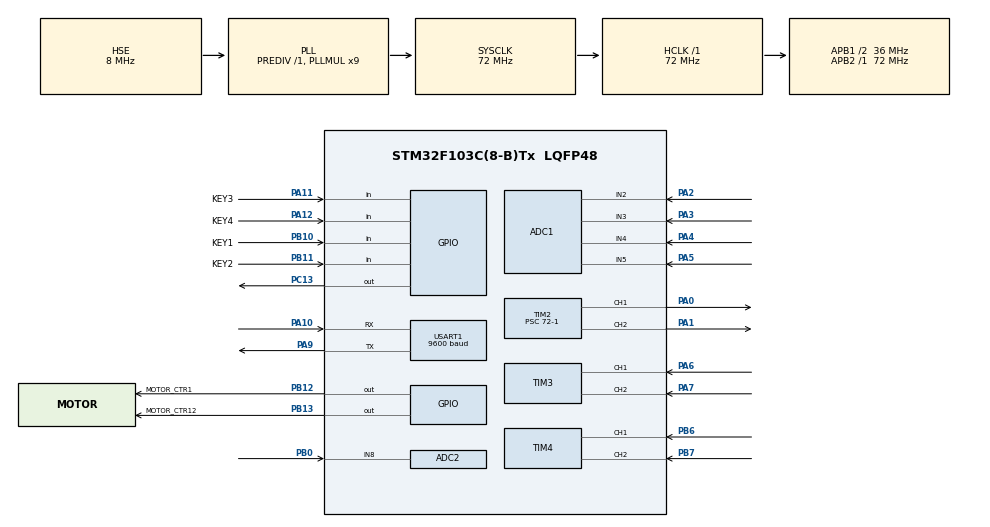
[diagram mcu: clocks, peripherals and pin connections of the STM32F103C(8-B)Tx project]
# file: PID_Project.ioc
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ADC1.Channel-0\#ChannelRegularConversion=ADC_CHANNEL_2
ADC1.Channel-1\#ChannelRegularConversion=ADC_CHANNEL_3
ADC1.Channel-2\#ChannelRegularConversion=ADC_CHANNEL_4
ADC1.Channel-3\#ChannelRegularConversion=ADC_CHANNEL_5
ADC1.ContinuousConvMode=DISABLE
ADC1.DiscontinuousConvMode=ENABLE
ADC1.NbrOfConversion=4
ADC1.NbrOfConversionFlag=1
ADC1.Rank-0\#ChannelRegularConversion=1
ADC1.Rank-1\#ChannelRegularConversion=2
ADC1.Rank-2\#ChannelRegularConversion=3
ADC1.Rank-3\#ChannelRegularConversion=4
ADC1.SamplingTime-0\#ChannelRegularConversion=ADC_SAMPLETIME_1CYCLE_5
ADC1.SamplingTime-1\#ChannelRegularConversion=ADC_SAMPLETIME_1CYCLE_5
ADC1.SamplingTime-2\#ChannelRegularConversion=ADC_SAMPLETIME_1CYCLE_5
ADC1.SamplingTime-3\#ChannelRegularConversion=ADC_SAMPLETIME_1CYCLE_5
ADC1.master=1
ADC2.Channel-0\#ChannelRegularConversion=ADC_CHANNEL_8
ADC2.NbrOfConversionFlag=1
ADC2.Rank-0\#ChannelRegularConversion=1
ADC2.SamplingTime-0\#ChannelRegularConversion=ADC_SAMPLETIME_239CYCLES_5
Mcu.Family=STM32F1
Mcu.Name=STM32F103C(8-B)Tx
Mcu.Package=LQFP48
NVIC.PriorityGroup=NVIC_PRIORITYGROUP_4
NVIC.TIM1_UP_IRQn=true\:0\:0\:false\:false\:true\:true\:true\:true
NVIC.TIM2_IRQn=true\:0\:0\:false\:false\:true\:true\:true\:true
PA0-WKUP.Signal=S_TIM2_CH1_ETR
PA1.Signal=S_TIM2_CH2
PA10.Mode=Asynchronous
PA10.Signal=USART1_RX
PA11.GPIO_Label=KEY3
PA11.GPIO_PuPd=GPIO_PULLUP
PA11.Signal=GPIO_Input
PA12.GPIO_Label=KEY4
PA12.GPIO_PuPd=GPIO_PULLUP
PA12.Signal=GPIO_Input
PA13.Mode=Serial_Wire
PA13.Signal=SYS_JTMS-SWDIO
PA14.Mode=Serial_Wire
PA14.Signal=SYS_JTCK-SWCLK
PA2.Signal=ADCx_IN2
PA3.Signal=ADCx_IN3
PA4.Signal=ADCx_IN4
PA5.Signal=ADCx_IN5
PA6.Signal=S_TIM3_CH1
PA7.Signal=S_TIM3_CH2
PA9.Mode=Asynchronous
PA9.Signal=USART1_TX
PB0.Signal=ADCx_IN8
PB10.GPIO_Label=KEY1
PB10.GPIO_PuPd=GPIO_PULLUP
PB10.Signal=GPIO_Input
PB11.GPIO_Label=KEY2
PB11.GPIO_PuPd=GPIO_PULLUP
PB11.Signal=GPIO_Input
PB12.GPIO_Label=MOTOR_CTR1
PB12.GPIO_Speed=GPIO_SPEED_FREQ_HIGH
PB12.Signal=GPIO_Output
PB13.GPIO_Label=MOTOR_CTR12
PB13.GPIO_Speed=GPIO_SPEED_FREQ_HIGH
PB13.Signal=GPIO_Output
PB6.Signal=S_TIM4_CH1
PB7.Signal=S_TIM4_CH2
PC13-TAMPER-RTC.Signal=GPIO_Output
PC14-OSC32_IN.Mode=LSE-External-Oscillator
PC14-OSC32_IN.Signal=RCC_OSC32_IN
PC15-OSC32_OUT.Mode=LSE-External-Oscillator
PC15-OSC32_OUT.Signal=RCC_OSC32_OUT
PD0-OSC_IN.Mode=HSE-External-Oscillator
PD0-OSC_IN.Signal=RCC_OSC_IN
PD1-OSC_OUT.Mode=HSE-External-Oscillator
PD1-OSC_OUT.Signal=RCC_OSC_OUT
ProjectManager.HeapSize=0x200
ProjectManager.StackSize=0x400
ProjectManager.TargetToolchain=MDK-ARM V5.32
RCC.ADCPresc=RCC_ADCPCLK2_DIV6
RCC.AHBFreq_Value=72000000
RCC.APB1CLKDivider=RCC_HCLK_DIV2
RCC.APB1Freq_Value=36000000
RCC.APB1TimFreq_Value=72000000
RCC.APB2Freq_Value=72000000
RCC.APB2TimFreq_Value=72000000
RCC.HCLKFreq_Value=72000000
RCC.PLLMUL=RCC_PLL_MUL9
RCC.PLLSourceVirtual=RCC_PLLSOURCE_HSE
RCC.SYSCLKFreq_VALUE=72000000
RCC.SYSCLKSource=RCC_SYSCLKSOURCE_PLLCLK
RCC.USBFreq_Value=72000000
SH.ADCx_IN2.0=ADC1_IN2,IN2
SH.ADCx_IN3.0=ADC1_IN3,IN3
SH.ADCx_IN4.0=ADC1_IN4,IN4
SH.ADCx_IN5.0=ADC1_IN5,IN5
SH.ADCx_IN8.0=ADC2_IN8,IN8
SH.S_TIM2_CH1_ETR.0=TIM2_CH1,PWM Generation1 CH1
SH.S_TIM2_CH2.0=TIM2_CH2,PWM Generation2 CH2
SH.S_TIM3_CH1.0=TIM3_CH1,Encoder_Interface
SH.S_TIM3_CH2.0=TIM3_CH2,Encoder_Interface
SH.S_TIM4_CH1.0=TIM4_CH1,Encoder_Interface
SH.S_TIM4_CH2.0=TIM4_CH2,Encoder_Interface
TIM2.Channel-PWM\ Generation1\ CH1=TIM_CHANNEL_1
TIM2.Channel-PWM\ Generation2\ CH2=TIM_CHANNEL_2
TIM2.Period=100-1
TIM2.Prescaler=72-1
TIM3.EncoderMode=TIM_ENCODERMODE_TI12
USART1.BaudRate=9600
USART1.VirtualMode=VM_ASYNC
VP_TIM1_VS_ClockSourceINT.Mode=Internal
VP_TIM2_VS_ClockSourceINT.Mode=Internal
board=custom

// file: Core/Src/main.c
/* USER CODE BEGIN Header */
/**
  ******************************************************************************
  * @file           : main.c
  * @brief          : Main program body
  ******************************************************************************
  * @attention
  *
  * Copyright (c) 2025 STMicroelectronics.
  * All rights reserved.
  *
  * This software is licensed under terms that can be found in the LICENSE file
  * in the root directory of this software component.
  * If no LICENSE file comes with this software, it is provided AS-IS.
  *
  ******************************************************************************
  */
/* USER CODE END Header */
#include "main.h"
#include "adc.h"
#include "tim.h"
#include "usart.h"
#include "gpio.h"

/* USER CODE BEGIN Includes */
#include "systerm_select.h"
/* USER CODE END Includes */

/* USER CODE BEGIN PM */

/*定义PID相关变量*/
uint8_t currentSystemStage = SYSTEM_STAGE_IDLE;   // 当前系统阶段（模式）
uint8_t nextSystemStage = SYSTEM_STAGE_IDLE;      // 下一系统阶段（模式）

/* USER CODE END PM */

void SystemClock_Config(void);

/* USER CODE BEGIN 0 */
void read_pid_param_from_flash(void)
{
	//STM32的FLASH存储器里有一些掉电不丢失的参数
	//此处判断FLASH是第一次使用，还是已经存储过数据了
	if (FlashStore_Init())
	{
		/*进入if，表示FLAH是第一次使用*/
		/*调用保存参数的函数，初始化FLASH内存储的参数，即重置参数*/

		PID_SpeedControl_SaveParams();
		PID_PositionControl_SaveParams();
		PID_daolibai_SaveParam();

		/*OLED显示已重置参数*/
		OLED_Clear();
		OLED_ShowString(0, 0,  "     [提示]     ", OLED_8X16);
		OLED_ShowString(0, 16, "   已重置参数   ", OLED_8X16);
		OLED_ShowString(0, 32, "                ", OLED_8X16);
		OLED_ShowString(0, 48, "             K4>", OLED_8X16);
		OLED_Update();

		HAL_Delay(1000);
	}
}

void oled_display_idle_page(void)
{
	/*显示初始界面*/
	OLED_Clear();
	OLED_ShowString(0, 0,  "    [FYZ-HHH]   ", OLED_8X16);
	OLED_ShowString(4, 16, "PID综合测试程序  ",   OLED_8X16);
	OLED_ShowString(0, 32, "      V1.1      ", OLED_8X16);
	OLED_ShowString(0, 48, "             K4>", OLED_8X16);
	OLED_Update();
}

void motor_pwm_encoder_start(void)
{
	HAL_TIM_PWM_Start(&htim2, TIM_CHANNEL_1);					//启动 PWM TIM_CHANNEL_1 PWM信号输出
//	  HAL_TIM_PWM_Start(&htim2, TIM_CHANNEL_2);					//启动 PWM TIM_CHANNEL_2 PWM信号输出
	HAL_TIM_Encoder_Start(&htim3, TIM_CHANNEL_ALL);  			// 启动htim3编码器模式
//	HAL_TIM_Encoder_Start(&htim4, TIM_CHANNEL_ALL);  			// 启动htim4编码器模式
}
/* USER CODE END 0 */

int main(void)
{

  /* MCU Configuration--------------------------------------------------------*/

  /* Reset of all peripherals, Initializes the Flash interface and the Systick. */
  HAL_Init();

  /* Configure the system clock */
  SystemClock_Config();

  /* Initialize all configured peripherals */
  MX_GPIO_Init();
  MX_ADC1_Init();
  MX_TIM2_Init();
  MX_TIM3_Init();
  MX_TIM4_Init();
  MX_USART1_UART_Init();
  MX_TIM1_Init();
  MX_ADC2_Init();
  /* USER CODE BEGIN 2 */
	HAL_ADCEx_Calibration_Start(&hadc1); // 校准
	HAL_ADCEx_Calibration_Start(&hadc2); // 校准
	OLED_Init();
	motor_pwm_encoder_start();									//电机PWM和编码器检测初始化
	HAL_TIM_Base_Start_IT(&htim1); 								// htim1 定时器更新中断

	read_pid_param_from_flash();
	oled_display_idle_page();
	/*等待K4按键按下*/
	while (Key_Check(4, KEY_SINGLE) == 0);
	Key_Clear();

	/*K4按键已按下，切换下一个模式为0x01*/
	nextSystemStage = SYSTEM_STAGE_SELECTION;

  /* USER CODE END 2 */

  /* Infinite loop */
  /* USER CODE BEGIN WHILE */
  while (1)
  {
	if(nextSystemStage == currentSystemStage)		//currentSystemStage和nextSystemStage相同，表示模式没有切换
	{
		switch (currentSystemStage)			//currentSystemStage的值，执行对应模式的Loop函数
		{
			case SYSTEM_STAGE_SELECTION: 	//系统选择状态
				systerm_select_Loop(); break;
			case SYSTEM_STAGE_KEY_TEST: 	// 硬件按键测试
				KeyTest_Loop(); break;
			case SYSTEM_STAGE_RP_TEST: 		// 硬件RP测试
				RPTest_Loop(); break;
			case SYSTEM_STAGE_PWM_TEST: 	// 硬件PWM测试
				PWMTest_Loop(); break;
			case SYSTEM_STAGE_ENCODER_TEST: // 硬件编码器测试
				EncoderTest_Loop(); break;
			case SYSTEM_STAGE_ANGLE_TEST: 	// 硬件角度传感器测试
				AngleTest_Loop(); break;
			case SYSTEM_STAGE_SPEED_CONTROL: 		//定速控制
				motor_speed_control_Loop(); break;
			case SYSTEM_STAGE_LOCATION_CONTROL: 	//定位置控制
				motor_location_control_Loop(); break;
			case SYSTEM_STAGE_DAOLIBAI_CONTROL: 	//双环倒立摆控制
				systerm_daolibai_Loop(); break;
			case SYSTEM_STAGE_MENU:
				Menu_Loop(); break;
		}
	}
	else						//CurrMode和NextMode不相同，表示当前处于模式切换的瞬间
	{
		switch (currentSystemStage)		//首先调用当前模式的Exit函数，处理掉当前模式的收尾工作
		{
			case SYSTEM_STAGE_PWM_TEST:
				PWMTest_Exit(); break;
			case SYSTEM_STAGE_DAOLIBAI_CONTROL:
				systerm_daolibai_Exit(); break;
			case SYSTEM_STAGE_MENU:
				Menu_Exit(); break;
		}
		currentSystemStage = nextSystemStage;			//CurrMode更新为NextMode，完成模式切换
		Key_Clear();									//模式切换时，清除一下按键标志位，避免干扰下一个模式对按键的判断
		switch (nextSystemStage)						//模式切换后，执行一遍切换后模式的Init函数，用于初始化
		{
			/*界面显示和初始化*/
			case SYSTEM_STAGE_SELECTION:
				systerm_select_Init(); break;
			case SYSTEM_STAGE_KEY_TEST:
				KeyTest_Init(); break;
			case SYSTEM_STAGE_RP_TEST:
				RPTest_Init(); break;
			case SYSTEM_STAGE_PWM_TEST:
				PWMTest_Init(); break;
			case SYSTEM_STAGE_ENCODER_TEST:
				EncoderTest_Init(); break;
			case SYSTEM_STAGE_ANGLE_TEST:
				AngleTest_Init(); break;
			case SYSTEM_STAGE_MOTOR_CONTROL:
				Motor_Control_Ready_Init(); break;
			case SYSTEM_STAGE_SPEED_CONTROL:
				motor_speed_control_Init(); break;
			case SYSTEM_STAGE_LOCATION_CONTROL:
				motor_location_control_Init(); break;
			case SYSTEM_STAGE_DAOLIBAI_IDLE:
				Location_Ready_Init(); break;
			case SYSTEM_STAGE_DAOLIBAI_CONTROL:
				systerm_daolibai_Init(); break;
			case SYSTEM_STAGE_MENU:
				Menu_Init(); break;
		}
	}
    /* USER CODE END WHILE */
  }
}

void SystemClock_Config(void)
{
  RCC_OscInitTypeDef RCC_OscInitStruct = {0};
  RCC_ClkInitTypeDef RCC_ClkInitStruct = {0};
  RCC_PeriphCLKInitTypeDef PeriphClkInit = {0};

  /** Initializes the RCC Oscillators according to the specified parameters
  * in the RCC_OscInitTypeDef structure.
  */
  RCC_OscInitStruct.OscillatorType = RCC_OSCILLATORTYPE_HSE;
  RCC_OscInitStruct.HSEState = RCC_HSE_ON;
  RCC_OscInitStruct.HSEPredivValue = RCC_HSE_PREDIV_DIV1;
  RCC_OscInitStruct.HSIState = RCC_HSI_ON;
  RCC_OscInitStruct.PLL.PLLState = RCC_PLL_ON;
  RCC_OscInitStruct.PLL.PLLSource = RCC_PLLSOURCE_HSE;
  RCC_OscInitStruct.PLL.PLLMUL = RCC_PLL_MUL9;
  if (HAL_RCC_OscConfig(&RCC_OscInitStruct) != HAL_OK)
  {
    Error_Handler();
  }

  /** Initializes the CPU, AHB and APB buses clocks
  */
  RCC_ClkInitStruct.ClockType = RCC_CLOCKTYPE_HCLK|RCC_CLOCKTYPE_SYSCLK
                              |RCC_CLOCKTYPE_PCLK1|RCC_CLOCKTYPE_PCLK2;
  RCC_ClkInitStruct.SYSCLKSource = RCC_SYSCLKSOURCE_PLLCLK;
  RCC_ClkInitStruct.AHBCLKDivider = RCC_SYSCLK_DIV1;
  RCC_ClkInitStruct.APB1CLKDivider = RCC_HCLK_DIV2;
  RCC_ClkInitStruct.APB2CLKDivider = RCC_HCLK_DIV1;

  if (HAL_RCC_ClockConfig(&RCC_ClkInitStruct, FLASH_LATENCY_2) != HAL_OK)
  {
    Error_Handler();
  }
  PeriphClkInit.PeriphClockSelection = RCC_PERIPHCLK_ADC;
  PeriphClkInit.AdcClockSelection = RCC_ADCPCLK2_DIV6;
  if (HAL_RCCEx_PeriphCLKConfig(&PeriphClkInit) != HAL_OK)
  {
    Error_Handler();
  }
}

void Error_Handler(void)
{
  __disable_irq();
  while (1)
  {
  }
}
